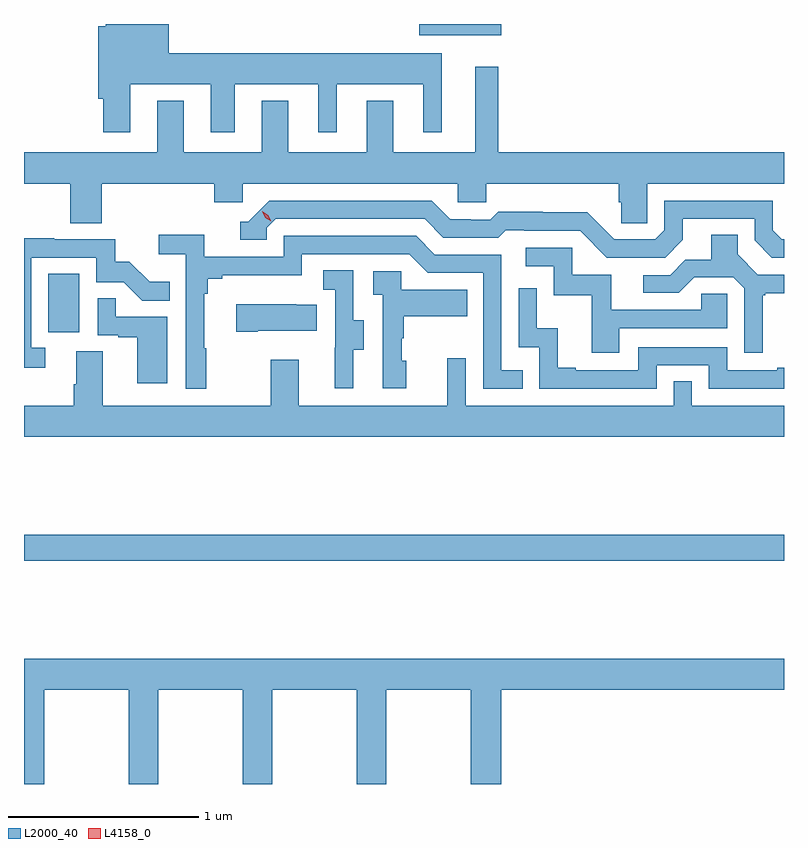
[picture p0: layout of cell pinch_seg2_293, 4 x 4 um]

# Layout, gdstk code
import gdstk
lib = gdstk.Library(unit=1e-6, precision=1e-09)
def R(c, l, rs):  # rectangles x0, y0, x1, y1
    for r in rs: c.add(gdstk.rectangle(r[:2], r[2:], *l))
def P(c, l, *ps):  # polygons
    for p in ps: c.add(gdstk.Polygon(p, *l))
L2000_40 = (2000, 40)
L4158_0 = (4158, 0)

pinch_seg2_293 = lib.new_cell('pinch_seg2_293')
R(pinch_seg2_293, L2000_40, [(945.079,629.668,949.079,629.804), (945.206,630.87,945.37,631.177), (947.16,632.432,947.59,632.492)])
P(pinch_seg2_293, L2000_40, [(945.637,632.174),(946.061,632.174),(946.061,631.923),(946.189,631.923),(946.189,632.174),(946.628,632.174),(946.628,631.923),(946.726,631.923),(946.726,632.174),(947.18,632.174),(947.18,631.923),(947.278,631.923),(947.278,632.338),(945.841,632.338),(945.841,632.492),(945.509,632.492),(945.509,632.479),(945.47,632.479),(945.47,632.099),(945.497,632.099),(945.497,631.923),(945.637,631.923)],
  [(945.488,631.652),(946.079,631.652),(946.079,631.554),(946.23,631.554),(946.23,631.652),(947.361,631.652),(947.361,631.554),(947.511,631.554),(947.511,631.652),(948.209,631.652),(948.209,631.554),(948.223,631.554),(948.223,631.444),(948.36,631.444),(948.36,631.652),(949.079,631.652),(949.079,631.816),(947.575,631.816),(947.575,632.266),(947.453,632.266),(947.453,631.816),(947.023,631.816),(947.023,632.089),(946.883,632.089),(946.883,631.816),(946.471,631.816),(946.471,632.089),(946.331,632.089),(946.331,631.816),(945.919,631.816),(945.919,632.089),(945.779,632.089),(945.779,631.816),(945.079,631.816),(945.079,631.652),(945.323,631.652),(945.323,631.444),(945.488,631.444)],
  [(948.547,631.357),(948.547,631.467),(948.924,631.467),(948.924,631.353),(949.014,631.263),(949.079,631.263),(949.079,631.359),(949.068,631.359),(949.02,631.407),(949.02,631.563),(948.45,631.563),(948.45,631.407),(948.402,631.359),(948.186,631.359),(948.044,631.501),(947.808,631.501),(947.808,631.504),(947.575,631.504),(947.533,631.461),(947.43,631.461),(947.43,631.464),(947.323,631.464),(947.224,631.563),(946.371,631.563),(946.26,631.452),(946.217,631.452),(946.217,631.356),(946.356,631.356),(946.356,631.419),(946.404,631.467),(947.187,631.467),(947.286,631.368),(947.575,631.368),(947.614,631.407),(947.713,631.407),(947.713,631.404),(948.006,631.404),(948.147,631.263),(948.453,631.263)],
  [(946.039,630.785),(946.027,630.785),(946.027,631.073),(946.046,631.073),(946.046,631.15),(946.123,631.15),(946.123,631.169),(946.542,631.169),(946.542,631.281),(947.106,631.281),(947.205,631.182),(947.496,631.182),(947.496,630.573),(947.705,630.573),(947.705,630.669),(947.592,630.669),(947.592,631.278),(947.242,631.278),(947.143,631.377),(946.446,631.377),(946.446,631.266),(946.028,631.266),(946.028,631.382),(945.789,631.382),(945.789,631.28),(945.93,631.28),(945.93,630.573),(946.039,630.573)],
  [(948.967,631.065),(948.979,631.065),(948.979,631.076),(949.079,631.076),(949.079,631.173),(948.942,631.173),(948.835,631.28),(948.835,631.382),(948.695,631.382),(948.695,631.25),(948.56,631.25),(948.48,631.17),(948.339,631.17),(948.339,631.077),(948.526,631.077),(948.607,631.158),(948.813,631.158),(948.87,631.101),(948.87,630.762),(948.967,630.762)],
  [(945.19,630.789),(945.117,630.789),(945.117,631.263),(945.459,631.263),(945.459,631.134),(945.603,631.134),(945.701,631.036),(945.845,631.036),(945.845,631.135),(945.741,631.135),(945.634,631.242),(945.558,631.242),(945.558,631.359),(945.239,631.359),(945.239,631.364),(945.079,631.364),(945.079,630.684),(945.19,630.684)],
  [(948.211,630.891),(948.78,630.891),(948.78,631.071),(948.643,631.071),(948.643,630.987),(948.169,630.987),(948.169,631.173),(947.964,631.173),(947.964,631.314),(947.721,631.314),(947.721,631.218),(947.868,631.218),(947.868,631.065),(948.067,631.065),(948.067,630.762),(948.211,630.762)],
  [(946.813,630.778),(946.867,630.778),(946.867,630.933),(946.812,630.933),(946.812,631.196),(946.653,631.196),(946.653,631.093),(946.716,631.093),(946.716,630.789),(946.715,630.789),(946.715,630.576),(946.813,630.576)],
  [(947.092,630.72),(947.067,630.72),(947.067,630.839),(947.077,630.839),(947.077,630.953),(947.411,630.953),(947.411,631.093),(947.064,631.093),(947.064,631.191),(946.917,631.191),(946.917,631.067),(946.968,631.067),(946.968,630.576),(947.092,630.576)],
  [(948.408,630.696),(948.684,630.696),(948.684,630.573),(949.079,630.573),(949.079,630.682),(949.043,630.682),(949.043,630.669),(948.78,630.669),(948.78,630.792),(948.312,630.792),(948.312,630.669),(947.983,630.669),(947.983,630.682),(947.888,630.682),(947.888,630.89),(947.778,630.89),(947.778,631.102),(947.682,631.102),(947.682,630.792),(947.79,630.792),(947.79,630.573),(948.408,630.573)],
  [(945.832,630.951),(945.563,630.951),(945.563,631.049),(945.468,631.049),(945.468,630.855),(945.575,630.855),(945.575,630.843),(945.674,630.843),(945.674,630.6),(945.832,630.6)],
  [(946.309,630.878),(946.619,630.878),(946.619,631.015),(946.511,631.015),(946.511,631.018),(946.197,631.018),(946.197,630.871),(946.309,630.871)],
  [(949.079,630.484),(948.594,630.484),(948.594,630.611),(948.498,630.611),(948.498,630.484),(947.403,630.484),(947.403,630.733),(947.306,630.733),(947.306,630.484),(946.525,630.484),(946.525,630.724),(946.378,630.724),(946.378,630.484),(945.493,630.484),(945.493,630.77),(945.353,630.77),(945.353,630.596),(945.341,630.596),(945.341,630.484),(945.079,630.484),(945.079,630.32),(949.079,630.32)],
  [(945.186,628.988),(945.631,628.988),(945.631,628.492),(945.786,628.492),(945.786,628.988),(946.231,628.988),(946.231,628.492),(946.386,628.492),(946.386,628.988),(946.831,628.988),(946.831,628.492),(946.986,628.492),(946.986,628.988),(947.431,628.988),(947.431,628.492),(947.591,628.492),(947.591,628.988),(949.079,628.988),(949.079,629.152),(945.079,629.152),(945.079,628.492),(945.186,628.492)])
P(pinch_seg2_293, L4158_0, [(946.38,631.453),(946.349,631.473),(946.334,631.506),(946.334,631.506),(946.334,631.506),(946.365,631.486),(946.38,631.453),(946.38,631.453)])

lib.write_gds('pinch_seg2_293.gds')
